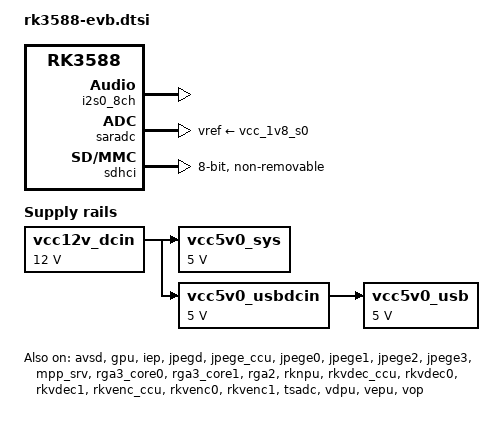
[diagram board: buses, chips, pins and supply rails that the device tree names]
// SPDX-License-Identifier: (GPL-2.0+ OR MIT)
/*
 * Copyright (c) 2021 Rockchip Electronics Co., Ltd.
 *
 */

#include <dt-bindings/gpio/gpio.h>
#include <dt-bindings/pwm/pwm.h>
#include <dt-bindings/pinctrl/rockchip.h>
#include <dt-bindings/input/rk-input.h>
#include <dt-bindings/display/drm_mipi_dsi.h>
#include <dt-bindings/display/rockchip_vop.h>
#include <dt-bindings/sensor-dev.h>

/ {
	hdmi0_sound: hdmi0-sound {
		status = "disabled";
		compatible = "rockchip,hdmi";
		rockchip,mclk-fs = <128>;
		rockchip,card-name = "rockchip-hdmi0";
		rockchip,cpu = <&i2s5_8ch>;
		rockchip,codec = <&hdmi0>;
		rockchip,jack-det;
	};

	hdmi1_sound: hdmi1-sound {
		status = "disabled";
		compatible = "rockchip,hdmi";
		rockchip,mclk-fs = <128>;
		rockchip,card-name = "rockchip-hdmi1";
		rockchip,cpu = <&i2s6_8ch>;
		rockchip,codec = <&hdmi1>;
		rockchip,jack-det;
	};

	dp0_sound: dp0-sound {
		status = "disabled";
		compatible = "rockchip,hdmi";
		rockchip,card-name= "rockchip,dp0";
		rockchip,mclk-fs = <512>;
		rockchip,cpu = <&spdif_tx2>;
		rockchip,codec = <&dp0 1>;
		rockchip,jack-det;
	};

	dp1_sound: dp1-sound {
		status = "disabled";
		compatible = "rockchip,hdmi";
		rockchip,card-name= "rockchip,dp1";
		rockchip,mclk-fs = <512>;
		rockchip,cpu = <&spdif_tx5>;
		rockchip,codec = <&dp1 1>;
		rockchip,jack-det;
	};


	spdif_tx0_dc: spdif-tx0-dc {
		status = "disabled";
		compatible = "linux,spdif-dit";
		#sound-dai-cells = <0>;
	};

	spdif_tx0_sound: spdif-tx0-sound {
		status = "disabled";
		compatible = "simple-audio-card";
		simple-audio-card,mclk-fs = <128>;
		simple-audio-card,name = "rockchip,spdif-tx0";
		simple-audio-card,cpu {
			sound-dai = <&spdif_tx0>;
		};
		simple-audio-card,codec {
			sound-dai = <&spdif_tx0_dc>;
		};
	};

	spdif_tx1_dc: spdif-tx1-dc {
		status = "disabled";
		compatible = "linux,spdif-dit";
		#sound-dai-cells = <0>;
	};

	spdif_tx1_sound: spdif-tx1-sound {
		status = "disabled";
		compatible = "simple-audio-card";
		simple-audio-card,mclk-fs = <128>;
		simple-audio-card,name = "rockchip,spdif-tx1";
		simple-audio-card,cpu {
			sound-dai = <&spdif_tx1>;
		};
		simple-audio-card,codec {
			sound-dai = <&spdif_tx1_dc>;
		};
	};

	vcc12v_dcin: vcc12v-dcin {
		compatible = "regulator-fixed";
		regulator-name = "vcc12v_dcin";
		regulator-always-on;
		regulator-boot-on;
		regulator-min-microvolt = <12000000>;
		regulator-max-microvolt = <12000000>;
	};

	vcc5v0_sys: vcc5v0-sys {
		compatible = "regulator-fixed";
		regulator-name = "vcc5v0_sys";
		regulator-always-on;
		regulator-boot-on;
		regulator-min-microvolt = <5000000>;
		regulator-max-microvolt = <5000000>;
		vin-supply = <&vcc12v_dcin>;
	};

	vcc5v0_usbdcin: vcc5v0-usbdcin {
		compatible = "regulator-fixed";
		regulator-name = "vcc5v0_usbdcin";
		regulator-always-on;
		regulator-boot-on;
		regulator-min-microvolt = <5000000>;
		regulator-max-microvolt = <5000000>;
		vin-supply = <&vcc12v_dcin>;
	};

	vcc5v0_usb: vcc5v0-usb {
		compatible = "regulator-fixed";
		regulator-name = "vcc5v0_usb";
		regulator-always-on;
		regulator-boot-on;
		regulator-min-microvolt = <5000000>;
		regulator-max-microvolt = <5000000>;
		vin-supply = <&vcc5v0_usbdcin>;
	};
};

&av1d_mmu {
	status = "okay";
};

&avsd {
	status = "okay";
};

&cpu_l0 {
	cpu-supply = <&vdd_cpu_lit_s0>;
	mem-supply = <&vdd_cpu_lit_mem_s0>;
};

&cpu_b0 {
	cpu-supply = <&vdd_cpu_big0_s0>;
	mem-supply = <&vdd_cpu_big0_mem_s0>;
};

&cpu_b2 {
	cpu-supply = <&vdd_cpu_big1_s0>;
	mem-supply = <&vdd_cpu_big1_mem_s0>;
};
&gpu {
	mali-supply = <&vdd_gpu_s0>;
	mem-supply = <&vdd_gpu_mem_s0>;
	status = "okay";
};

&i2s0_8ch {
	status = "okay";
	pinctrl-0 = <&i2s0_lrck
		     &i2s0_sclk
		     &i2s0_sdi0
		     &i2s0_sdo0>;
};

&iep {
	status = "okay";
};

&iep_mmu {
	status = "okay";
};

&jpegd {
	status = "okay";
};

&jpegd_mmu {
	status = "okay";
};

&jpege_ccu {
	status = "okay";
};

&jpege0 {
	status = "okay";
};

&jpege0_mmu {
	status = "okay";
};

&jpege1 {
	status = "okay";
};

&jpege1_mmu {
	status = "okay";
};

&jpege2 {
	status = "okay";
};

&jpege2_mmu {
	status = "okay";
};

&jpege3 {
	status = "okay";
};

&jpege3_mmu {
	status = "okay";
};

&mpp_srv {
	status = "okay";
};

&rga3_core0 {
	status = "okay";
};

&rga3_0_mmu {
	status = "okay";
};

&rga3_core1 {
	status = "okay";
};

&rga3_1_mmu {
	status = "okay";
};

&rga2 {
	status = "okay";
};

&rknpu {
	rknpu-supply = <&vdd_npu_s0>;
	mem-supply = <&vdd_npu_mem_s0>;
	status = "okay";
};

&rknpu_mmu {
	status = "okay";
};

&rkvdec_ccu {
	status = "okay";
};

&rkvdec0 {
	status = "okay";
};

&rkvdec0_mmu {
	status = "okay";
};

&rkvdec1 {
	status = "okay";
};

&rkvdec1_mmu {
	status = "okay";
};

&rkvenc_ccu {
	status = "okay";
};

&rkvenc0 {
	status = "okay";
};

&rkvenc0_mmu {
	status = "okay";
};

&rkvenc1 {
	status = "okay";
};

&rkvenc1_mmu {
	status = "okay";
};

&rockchip_suspend {
	status = "okay";
	rockchip,sleep-debug-en = <1>;
};

&saradc {
	status = "okay";
	vref-supply = <&vcc_1v8_s0>;
};

&sdhci {
	bus-width = <8>;
	no-sdio;
	no-sd;
	non-removable;
	max-frequency = <200000000>;
	mmc-hs400-1_8v;
	mmc-hs400-enhanced-strobe;
	status = "okay";
};

&sdmmc {
	max-frequency = <150000000>;
	no-sdio;
	no-mmc;
	bus-width = <4>;
	cap-mmc-highspeed;
	cap-sd-highspeed;
	disable-wp;
	sd-uhs-sdr104;
	vqmmc-supply = <&vccio_sd_s0>;
	status = "disabled";
};

&tsadc {
	status = "okay";
};

&u2phy0 {
	status = "disable";
};

&u2phy1 {
	status = "disable";
};

&u2phy2 {
	status = "disable";
};

&u2phy3 {
	status = "disable";
};

&u2phy0_otg {
	status = "disable";
};

&u2phy1_otg {
	status = "disable";
};

&u2phy2_host {
	status = "disable";
};

&u2phy3_host {
	status = "disable";
};

&usb_host0_ehci {
	status = "disable";
};

&usb_host0_ohci {
	status = "disable";
};

&usb_host1_ehci {
	status = "disable";
};

&usb_host1_ohci {
	status = "disable";
};

&usbdp_phy0 {
	status = "disable";
};

&usbdp_phy0_dp {
	status = "disable";
};

&usbdp_phy0_u3 {
	status = "disable";
};

&usbdp_phy1 {
	status = "disable";
};

&usbdp_phy1_dp {
	status = "disable";
};

&usbdp_phy1_u3 {
	status = "disable";
};

&usbdrd3_0 {
	status = "disable";
};

&usbdrd_dwc3_0 {
	dr_mode = "otg";
	status = "disable";
};

&usbhost3_0 {
	status = "disable";
};

&usbhost_dwc3_0 {
	status = "disable";
};

&usbdrd3_1 {
	status = "disable";
};

&usbdrd_dwc3_1 {
	status = "disable";
};

&vdpu {
	status = "okay";
};

&vdpu_mmu {
	status = "okay";
};

&vepu {
	status = "okay";
};

&vop {
	status = "okay";
};

&vop_mmu {
	status = "okay";
};

/* vp0 & vp1 splice for 8K output */
&vp0 {
	rockchip,plane-mask = <(1 << ROCKCHIP_VOP2_CLUSTER0 | 1 << ROCKCHIP_VOP2_ESMART0)>;
	rockchip,primary-plane = <ROCKCHIP_VOP2_ESMART0>;
};

&vp1 {
	rockchip,plane-mask = <(1 << ROCKCHIP_VOP2_CLUSTER1 | 1 << ROCKCHIP_VOP2_ESMART1)>;
	rockchip,primary-plane = <ROCKCHIP_VOP2_ESMART1>;
};

&vp2 {
	rockchip,plane-mask = <(1 << ROCKCHIP_VOP2_CLUSTER2 | 1 << ROCKCHIP_VOP2_ESMART2)>;
	rockchip,primary-plane = <ROCKCHIP_VOP2_ESMART2>;
};

&vp3 {
	rockchip,plane-mask = <(1 << ROCKCHIP_VOP2_CLUSTER3 | 1 << ROCKCHIP_VOP2_ESMART3)>;
	rockchip,primary-plane = <ROCKCHIP_VOP2_ESMART3>;
};
